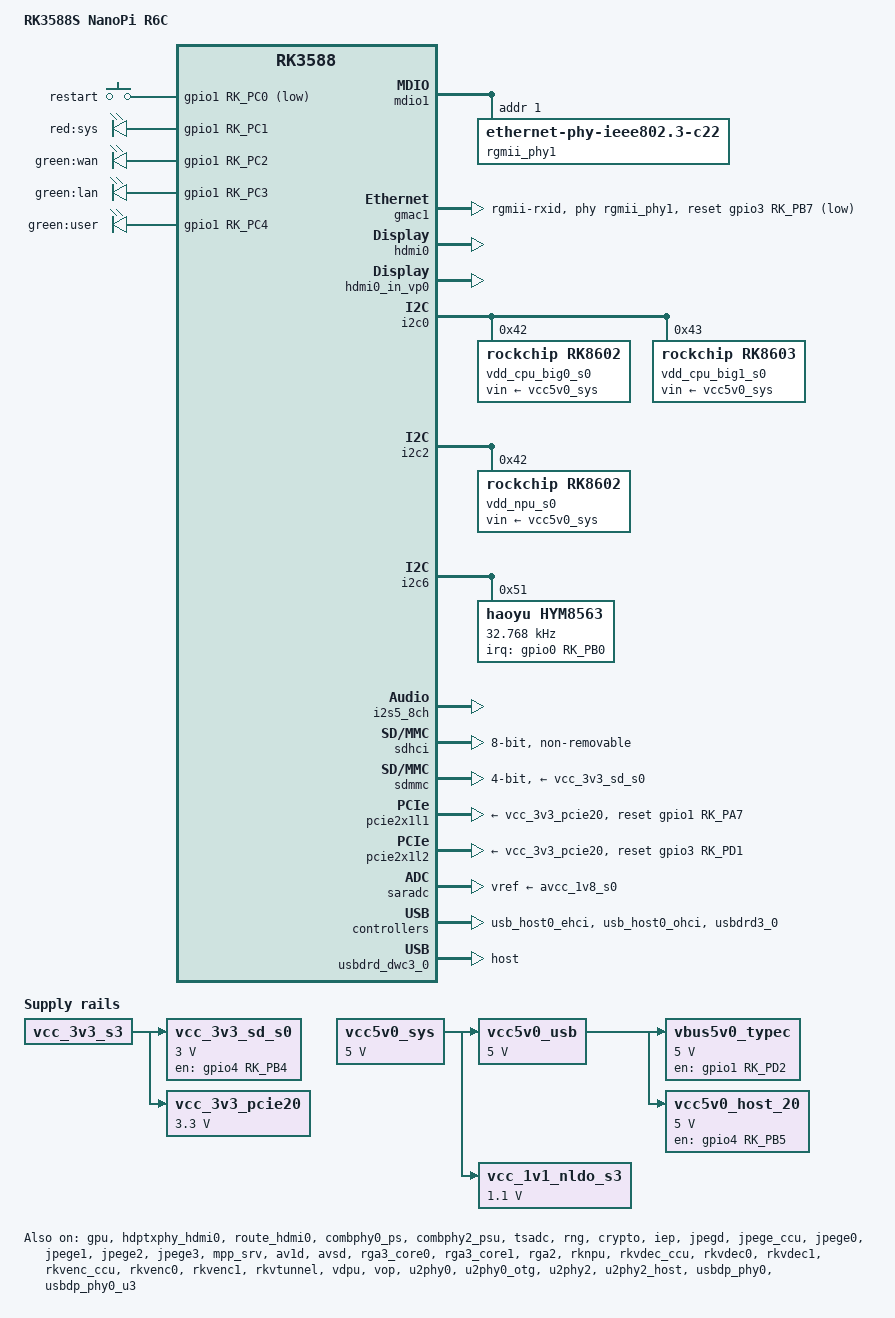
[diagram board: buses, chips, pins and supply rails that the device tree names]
/dts-v1/;
#include <dt-bindings/gpio/gpio.h>
#include <dt-bindings/pwm/pwm.h>
#include <dt-bindings/pinctrl/rockchip.h>
#include <dt-bindings/input/rk-input.h>
#include <dt-bindings/display/drm_mipi_dsi.h>
#include <dt-bindings/display/rockchip_vop.h>
#include <dt-bindings/sensor-dev.h>
#include <dt-bindings/usb/pd.h>
#include "rk3588s.dtsi"
#include "rk3588-rk806-single.dtsi"
#include "rk3588-linux.dtsi"

/ {
	model = "RK3588S NanoPi R6C";
	compatible = "rockchip,rk3588s-nanopi-r6c", "rockchip,rk3588";

	aliases: aliases {
		mmc0 = &sdhci;
		mmc1 = &sdmmc;
		ethernet0 = &r8125_u25;
		ethernet1 = &gmac1;
	};

	fiq_debugger: fiq-debugger {
		compatible = "rockchip,fiq-debugger";
		rockchip,serial-id = <2>;
		rockchip,wake-irq = <0>;
		rockchip,irq-mode-enable = <1>;
		rockchip,baudrate = <1500000>;
		interrupts = <GIC_SPI 423 IRQ_TYPE_LEVEL_LOW>;
		status = "okay";
	};

	vcc5v0_sys: vcc5v0-sys {
		compatible = "regulator-fixed";
		regulator-name = "vcc5v0_sys";
		regulator-min-microvolt = <5000000>;
		regulator-max-microvolt = <5000000>;
		regulator-always-on;
		regulator-boot-on;
	};

	vcc5v0_usb: vcc5v0-usb {
		compatible = "regulator-fixed";
		regulator-name = "vcc5v0_usb";
		regulator-min-microvolt = <5000000>;
		regulator-max-microvolt = <5000000>;
		regulator-always-on;
		regulator-boot-on;
		vin-supply = <&vcc5v0_sys>;
	};

	vbus5v0_typec: vbus5v0-typec {
		compatible = "regulator-fixed";
		regulator-name = "vbus5v0_typec";
		gpio = <&gpio1 RK_PD2 GPIO_ACTIVE_HIGH>;
		regulator-min-microvolt = <5000000>;
		regulator-max-microvolt = <5000000>;
		enable-active-high;
		vin-supply = <&vcc5v0_usb>;
	};

	vcc5v0_host_20: vcc5v0-host-20 {
		compatible = "regulator-fixed";
		regulator-name = "vcc5v0_host_20";
		gpio = <&gpio4 RK_PB5 GPIO_ACTIVE_HIGH>;
		regulator-min-microvolt = <5000000>;
		regulator-max-microvolt = <5000000>;
		enable-active-high;
		vin-supply = <&vcc5v0_usb>;
	};

	vcc_3v3_sd_s0: vcc-3v3-sd-s0{
		compatible = "regulator-fixed";
		regulator-name = "vcc_3v3_sd_s0";
		gpio = <&gpio4 RK_PB4 GPIO_ACTIVE_HIGH>;
		regulator-max-microvolt = <3000000>;
		regulator-min-microvolt = <3000000>;
		regulator-always-on;
		enable-active-high;
		regulator-boot-on;
		vin-supply = <&vcc_3v3_s3>;
	};

	vcc_3v3_pcie20: vcc3v3-pcie20 {
		compatible = "regulator-fixed";
		regulator-name = "vcc_3v3_pcie20";
		regulator-min-microvolt = <3300000>;
		regulator-max-microvolt = <3300000>;
		regulator-always-on;
		regulator-boot-on;
		vin-supply = <&vcc_3v3_s3>;
	};

	vcc_1v1_nldo_s3: vcc-1v1-nldo-s3 {
		compatible = "regulator-fixed";
		regulator-name = "vcc_1v1_nldo_s3";
		regulator-min-microvolt = <1100000>;
		regulator-max-microvolt = <1100000>;
		regulator-always-on;
		regulator-boot-on;
		vin-supply = <&vcc5v0_sys>;
	};

	gpio_keys: gpio-keys {
		compatible = "gpio-keys";

		button_restart: button-restart {
			label = "restart";
			gpios = <&gpio1 RK_PC0 GPIO_ACTIVE_LOW>;
			linux,code = <KEY_RESTART>;
			debounce-interval = <50>;
		};
	};

	gpio_leds: gpio-leds {
		compatible = "gpio-leds";
		
		led_sys: led-sys {
			gpios = <&gpio1 RK_PC1 GPIO_ACTIVE_HIGH>;
			linux,default-trigger = "heartbeat";
			label = "red:sys";
		};

		led_wan: led-wan {
			gpios = <&gpio1 RK_PC2 GPIO_ACTIVE_HIGH>;
			label = "green:wan";
		};

		led_lan: led-lan {
			gpios = <&gpio1 RK_PC3 GPIO_ACTIVE_HIGH>;
			label = "green:lan";
		};

		user_led: user-led {
			gpios = <&gpio1 RK_PC4 GPIO_ACTIVE_HIGH>;
			label = "green:user";
		};
	};

	hdmi0_sound: hdmi0-sound {
		status = "okay";
		compatible = "rockchip,hdmi";
		rockchip,mclk-fs = <128>;
		rockchip,card-name = "rockchip,hdmi0";
		rockchip,cpu = <&i2s5_8ch>;
		rockchip,codec = <&hdmi0>;
	};

	test_power: test-power {
		status = "okay";
	};
};

&mdio1 {
	rgmii_phy1: phy@1 {
		compatible = "ethernet-phy-ieee802.3-c22";
		reg = <0x1>;
	};
};

&gmac1 {
	phy-mode = "rgmii-rxid";
	clock_in_out = "output";

	snps,no-vlhash;
	snps,reset-gpio = <&gpio3 RK_PB7 GPIO_ACTIVE_LOW>;
	snps,reset-active-low;
	snps,reset-delays-us = <0 20000 100000>;

	pinctrl-names = "default";
	pinctrl-0 = <&gmac1_miim
		     &gmac1_tx_bus2
		     &gmac1_rx_bus2
		     &gmac1_rgmii_clk
		     &gmac1_rgmii_bus>;

	tx_delay = <0x42>;

	phy-handle = <&rgmii_phy1>;
	status = "okay";
};

&cpu_l0 {
	cpu-supply = <&vdd_cpu_lit_s0>;
	mem-supply = <&vdd_cpu_lit_mem_s0>;
};

&cpu_b0 {
	cpu-supply = <&vdd_cpu_big0_s0>;
	mem-supply = <&vdd_cpu_big0_mem_s0>;
};

&cpu_b2 {
	cpu-supply = <&vdd_cpu_big1_s0>;
	mem-supply = <&vdd_cpu_big1_mem_s0>;
};

&gpu {
	mali-supply = <&vdd_gpu_s0>;
	mem-supply = <&vdd_gpu_mem_s0>;
	upthreshold = <60>;
	downdifferential = <30>;
	status = "okay";
};

&hdmi0 {
	cec-enable;
	enable-gpios = <&gpio4 RK_PB6 GPIO_ACTIVE_HIGH>;
	status = "okay";
};

&hdmi0_in_vp0 {
	status = "okay";
};

&hdptxphy_hdmi0 {
	status = "okay";
};

&route_hdmi0 {
	connect = <&vp0_out_hdmi0>;
	status = "okay";
};

&i2c0 {
	pinctrl-names = "default";
	pinctrl-0 = <&i2c0m2_xfer>;
	status = "okay";

	vdd_cpu_big0_s0: vdd_cpu_big0_mem_s0: rk8602@42 {
		compatible = "rockchip,rk8602";
		reg = <0x42>;
		vin-supply = <&vcc5v0_sys>;
		regulator-compatible = "rk860x-reg";
		regulator-name = "vdd_cpu_big0_s0";
		regulator-min-microvolt = <550000>;
		regulator-max-microvolt = <1050000>;
		regulator-ramp-delay = <2300>;
		rockchip,suspend-voltage-selector = <1>;
		regulator-always-on;
		regulator-boot-on;

		regulator-state-mem {
			regulator-off-in-suspend;
		};
	};

	vdd_cpu_big1_s0: vdd_cpu_big1_mem_s0: rk8603@43 {
		compatible = "rockchip,rk8603";
		reg = <0x43>;
		vin-supply = <&vcc5v0_sys>;
		regulator-compatible = "rk860x-reg";
		regulator-name = "vdd_cpu_big1_s0";
		regulator-min-microvolt = <550000>;
		regulator-max-microvolt = <1050000>;
		regulator-ramp-delay = <2300>;
		rockchip,suspend-voltage-selector = <1>;
		regulator-always-on;
		regulator-boot-on;

		regulator-state-mem {
			regulator-off-in-suspend;
		};
	};
};

&i2c2 {
	status = "okay";

	vdd_npu_s0: vdd_npu_mem_s0: rk8602@42 {
		compatible = "rockchip,rk8602";
		reg = <0x42>;
		vin-supply = <&vcc5v0_sys>;
		regulator-compatible = "rk860x-reg";
		regulator-name = "vdd_npu_s0";
		regulator-min-microvolt = <550000>;
		regulator-max-microvolt = <950000>;
		regulator-ramp-delay = <2300>;
		rockchip,suspend-voltage-selector = <1>;
		regulator-always-on;
		regulator-boot-on;

		regulator-state-mem {
			regulator-off-in-suspend;
		};
	};
};

&i2c6 {
	pinctrl-names = "default";
	pinctrl-0 = <&i2c6m0_xfer>;
	status = "okay";

	hym8563: hym8563@51 {
		compatible = "haoyu,hym8563";
		reg = <0x51>;
		#clock-cells = <0>;
		clock-frequency = <32768>;
		clock-output-names = "hym8563";

		interrupt-parent = <&gpio0>;
		interrupts = <RK_PB0 IRQ_TYPE_LEVEL_LOW>;
		wakeup-source;
	};
};

&i2s5_8ch {
	status = "okay";
};

&sdhci {
	bus-width = <8>;
	no-sdio;
	no-sd;
	non-removable;
	max-frequency = <200000000>;
	mmc-hs400-1_8v;
	mmc-hs400-enhanced-strobe;
	full-pwr-cycle-in-suspend;
	status = "okay";
};

&sdmmc {
	max-frequency = <150000000>;
	no-sdio;
	no-mmc;
	bus-width = <4>;
	cap-mmc-highspeed;
	cap-sd-highspeed;
	disable-wp;
	sd-uhs-sdr104;
	vmmc-supply = <&vcc_3v3_sd_s0>;
	vqmmc-supply = <&vccio_sd_s0>;
	pinctrl-names = "default";
	pinctrl-0 = <&sdmmc_bus4 &sdmmc_clk &sdmmc_cmd &sdmmc_det>;
	status = "okay";
};

&combphy0_ps {
	status = "okay";
};

&combphy2_psu {
	status = "okay";
};

&pcie2x1l1 {
	reset-gpios = <&gpio1 RK_PA7 GPIO_ACTIVE_HIGH>;
	rockchip,init-delay-ms = <100>;
	vpcie3v3-supply = <&vcc_3v3_pcie20>;
	status = "okay";

	pcie@30 {
		reg = <0x00300000 0 0 0 0>;
		#address-cells = <3>;
		#size-cells = <2>;

		r8125_u25: pcie@30,0 {
			reg = <0x000000 0 0 0 0>;
			local-mac-address = [ 00 00 00 00 00 00 ];
		};
	};
};

&pcie2x1l2 {
	reset-gpios = <&gpio3 RK_PD1 GPIO_ACTIVE_HIGH>;
	vpcie3v3-supply = <&vcc_3v3_pcie20>;
	status = "okay";
};

&saradc {
	vref-supply = <&avcc_1v8_s0>;
	status = "okay";
};

&tsadc {
	status = "okay";
};

&rng {
	status = "okay";
};

&crypto {
	status = "okay";
};

&uart2 {
	status = "disabled";
};

&iep {
	status = "okay";
};

&iep_mmu {
	status = "okay";
};

&jpegd {
	status = "okay";
};

&jpegd_mmu {
	status = "okay";
};

&jpege_ccu {
	status = "okay";
};

&jpege0 {
	status = "okay";
};

&jpege0_mmu {
	status = "okay";
};

&jpege1 {
	status = "okay";
};

&jpege1_mmu {
	status = "okay";
};

&jpege2 {
	status = "okay";
};

&jpege2_mmu {
	status = "okay";
};

&jpege3 {
	status = "okay";
};

&jpege3_mmu {
	status = "okay";
};

&mpp_srv {
	status = "okay";
};

&av1d {
	status = "okay";
};

&av1d_mmu {
	status = "okay";
};

&avsd {
	status = "okay";
};

&rga3_core0 {
	status = "okay";
};

&rga3_0_mmu {
	status = "okay";
};

&rga3_core1 {
	status = "okay";
};

&rga3_1_mmu {
	status = "okay";
};

&rga2 {
	status = "okay";
};

&rknpu {
	rknpu-supply = <&vdd_npu_s0>;
	mem-supply = <&vdd_npu_mem_s0>;
	status = "okay";
};

&rknpu_mmu {
	status = "okay";
};

&rkvdec_ccu {
	status = "okay";
};

&rkvdec0 {
	status = "okay";
};

&rkvdec0_mmu {
	status = "okay";
};

&rkvdec1 {
	status = "okay";
};

&rkvdec1_mmu {
	status = "okay";
};

&rkvenc_ccu {
	status = "okay";
};

&rkvenc0 {
	venc-supply = <&vdd_vdenc_s0>;
	mem-supply = <&vdd_vdenc_mem_s0>;
	status = "okay";
};

&rkvenc0_mmu {
	status = "okay";
};

&rkvenc1 {
	venc-supply = <&vdd_vdenc_s0>;
	mem-supply = <&vdd_vdenc_mem_s0>;
	status = "okay";
};

&rkvenc1_mmu {
	status = "okay";
};

&rkvtunnel {
	status = "okay";
};

&avcc_1v8_s0 {
	regulator-state-mem {
		regulator-on-in-suspend;
		regulator-suspend-microvolt = <1800000>;
	};
};

&vdd_log_s0 {
	regulator-state-mem {
		regulator-on-in-suspend;
		regulator-suspend-microvolt = <750000>;
	};
};

&vdpu {
	status = "okay";
};

&vdpu_mmu {
	status = "okay";
};

&vop {
	assigned-clocks = <&cru ACLK_VOP>;
	assigned-clock-rates = <800000000>;
	status = "okay";
	disable-win-move;
};

&vop_mmu {
	status = "okay";
};

&vp0 {
	cursor-win-id=<ROCKCHIP_VOP2_ESMART0>;
	rockchip,plane-mask = <(1 << ROCKCHIP_VOP2_CLUSTER0 | 1 << ROCKCHIP_VOP2_ESMART0)>;
	rockchip,primary-plane = <ROCKCHIP_VOP2_CLUSTER0>;
};

&vp1 {
	cursor-win-id=<ROCKCHIP_VOP2_ESMART1>;
	rockchip,plane-mask = <(1 << ROCKCHIP_VOP2_CLUSTER1 | 1 << ROCKCHIP_VOP2_ESMART1)>;
	rockchip,primary-plane = <ROCKCHIP_VOP2_CLUSTER1>;
};

&vp2 {
	cursor-win-id=<ROCKCHIP_VOP2_ESMART2>;
	rockchip,plane-mask = <(1 << ROCKCHIP_VOP2_CLUSTER2 | 1 << ROCKCHIP_VOP2_ESMART2)>;
	rockchip,primary-plane = <ROCKCHIP_VOP2_CLUSTER2>;
};

&vp3 {
	cursor-win-id=<ROCKCHIP_VOP2_ESMART3>;
	rockchip,plane-mask = <(1 << ROCKCHIP_VOP2_CLUSTER3 | 1 << ROCKCHIP_VOP2_ESMART3)>;
	rockchip,primary-plane = <ROCKCHIP_VOP2_CLUSTER3>;
};

&u2phy0 {
	status = "okay";
};

&u2phy0_otg {
	phy-supply = <&vbus5v0_typec>;
	status = "okay";
};

&u2phy2 {
	status = "okay";
};

&u2phy2_host {
	phy-supply = <&vcc5v0_host_20>;
	status = "okay";
};

&usb_host0_ehci {
	status = "okay";
};

&usb_host0_ohci {
	status = "okay";
};

&usbdp_phy0 {
	status = "okay";
};

&usbdp_phy0_u3 {
	status = "okay";
};

&usbdrd3_0 {
	status = "okay";
};

&usbdrd_dwc3_0 {
	dr_mode = "host";
	extcon = <&u2phy0>;
	status = "okay";
};
